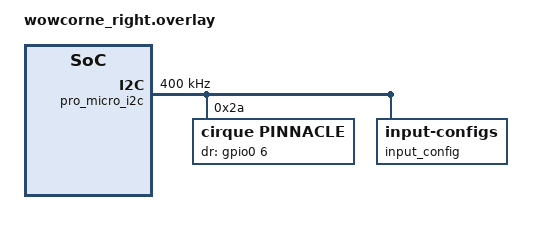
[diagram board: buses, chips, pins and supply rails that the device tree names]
/*
 * Copyright (c) 2020 Pete Johanson
 *
 * SPDX-License-Identifier: MIT
 */

#include "wowcorne.dtsi"



&default_transform {
    col-offset = <6>;
};

&five_column_transform {
    col-offset = <6>;
};

&kscan0 {
    col-gpios
        = <&pro_micro 14 GPIO_ACTIVE_HIGH>
        , <&pro_micro 15 GPIO_ACTIVE_HIGH>
        , <&pro_micro 18 GPIO_ACTIVE_HIGH>
        , <&pro_micro 19 GPIO_ACTIVE_HIGH>
        , <&pro_micro 20 GPIO_ACTIVE_HIGH>
        , <&pro_micro 21 GPIO_ACTIVE_HIGH>
        ;
};

&pro_micro_i2c {
    status = "okay";
    clock-frequency = < 400000 >;
    cirque: cirque@2a {
        compatible = "cirque,pinnacle";
        reg = <0x2a>;
        status = "okay";
        dr-gpios = <&gpio0 6 (GPIO_ACTIVE_HIGH)>;
        sensitivity = "2x";
        //sleep;
        //no-taps;
    };
    input_config {
        compatible = "zmk,input-configs";

        cirque_config {
            device = <&cirque>;
            scale-multiplier = <2>;
        };
    };
   };

/ {
  cirque_listener {
    compatible = "zmk,input-listener";
    device = <&cirque>;
    y-invert;
    scale-multiplier = <2>;
  };
};
